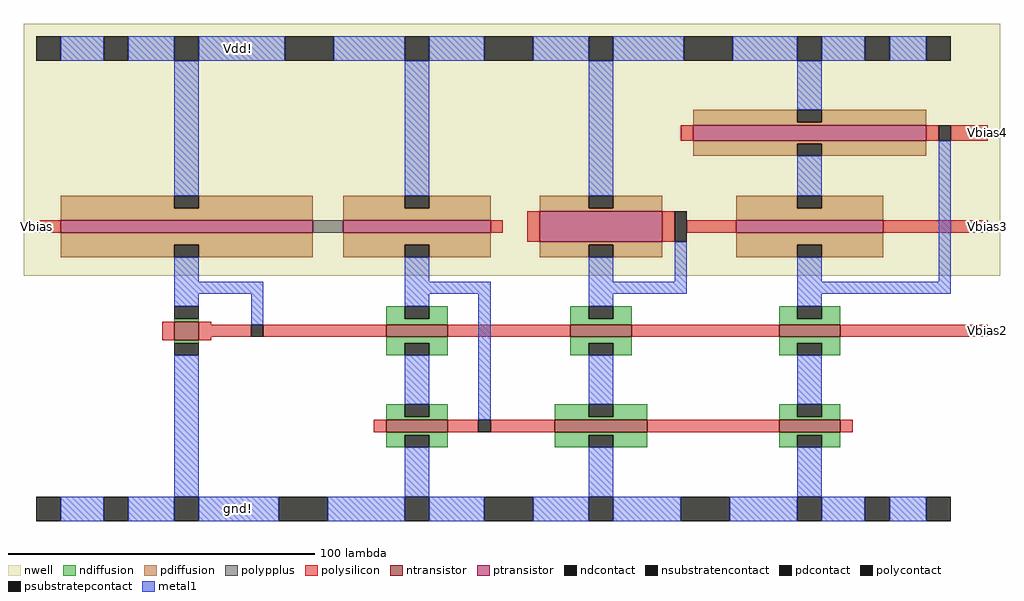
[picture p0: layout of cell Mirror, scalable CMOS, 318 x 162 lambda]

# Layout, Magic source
magic
tech scmos
<< nwell >>
rect -4 -16 314 66
<< ntransistor >>
rect 45 -37 53 -31
rect 114 -36 134 -32
rect 174 -36 194 -32
rect 242 -36 262 -32
rect 114 -67 134 -63
rect 169 -67 199 -63
rect 242 -67 262 -63
<< ptransistor >>
rect 214 28 290 33
rect 8 -2 90 2
rect 100 -2 148 2
rect 164 -5 204 5
rect 228 -2 276 2
<< ndiffusion >>
rect 45 -31 53 -30
rect 114 -30 120 -26
rect 128 -30 134 -26
rect 114 -32 134 -30
rect 174 -30 180 -26
rect 188 -30 194 -26
rect 174 -32 194 -30
rect 242 -30 248 -26
rect 256 -30 262 -26
rect 242 -32 262 -30
rect 45 -38 53 -37
rect 114 -38 134 -36
rect 114 -42 120 -38
rect 128 -42 134 -38
rect 174 -38 194 -36
rect 174 -42 180 -38
rect 188 -42 194 -38
rect 242 -38 262 -36
rect 242 -42 248 -38
rect 256 -42 262 -38
rect 114 -62 120 -58
rect 128 -62 134 -58
rect 114 -63 134 -62
rect 169 -62 180 -58
rect 188 -62 199 -58
rect 169 -63 199 -62
rect 242 -62 248 -58
rect 256 -62 262 -58
rect 242 -63 262 -62
rect 114 -68 134 -67
rect 114 -72 120 -68
rect 128 -72 134 -68
rect 169 -68 199 -67
rect 169 -72 180 -68
rect 188 -72 199 -68
rect 242 -68 262 -67
rect 242 -72 248 -68
rect 256 -72 262 -68
<< pdiffusion >>
rect 214 34 248 38
rect 256 34 290 38
rect 214 33 290 34
rect 214 27 290 28
rect 214 23 248 27
rect 256 23 290 27
rect 8 6 45 10
rect 53 6 90 10
rect 8 2 90 6
rect 100 6 120 10
rect 128 6 148 10
rect 100 2 148 6
rect 164 6 180 10
rect 188 6 204 10
rect 164 5 204 6
rect 228 6 248 10
rect 256 6 276 10
rect 8 -6 90 -2
rect 8 -10 45 -6
rect 53 -10 90 -6
rect 100 -6 148 -2
rect 228 2 276 6
rect 100 -10 120 -6
rect 128 -10 148 -6
rect 164 -6 204 -5
rect 164 -10 180 -6
rect 188 -10 204 -6
rect 228 -6 276 -2
rect 228 -10 248 -6
rect 256 -10 276 -6
<< ndcontact >>
rect 45 -30 53 -26
rect 120 -30 128 -26
rect 180 -30 188 -26
rect 248 -30 256 -26
rect 45 -42 53 -38
rect 120 -42 128 -38
rect 180 -42 188 -38
rect 248 -42 256 -38
rect 120 -62 128 -58
rect 180 -62 188 -58
rect 248 -62 256 -58
rect 120 -72 128 -68
rect 180 -72 188 -68
rect 248 -72 256 -68
<< pdcontact >>
rect 248 34 256 38
rect 248 23 256 27
rect 45 6 53 10
rect 120 6 128 10
rect 180 6 188 10
rect 248 6 256 10
rect 45 -10 53 -6
rect 120 -10 128 -6
rect 180 -10 188 -6
rect 248 -10 256 -6
<< psubstratepcontact >>
rect 0 -96 8 -88
rect 22 -96 30 -88
rect 45 -96 53 -88
rect 79 -96 95 -88
rect 120 -96 128 -88
rect 146 -96 162 -88
rect 180 -96 188 -88
rect 210 -96 226 -88
rect 248 -96 256 -88
rect 270 -96 278 -88
rect 290 -96 298 -88
<< nsubstratencontact >>
rect 0 54 8 62
rect 22 54 30 62
rect 45 54 53 62
rect 81 54 97 62
rect 120 54 128 62
rect 146 54 162 62
rect 180 54 188 62
rect 211 54 227 62
rect 248 54 256 62
rect 270 54 278 62
rect 290 54 298 62
<< polysilicon >>
rect 210 28 214 33
rect 290 28 294 33
rect 298 28 310 33
rect 0 -2 8 2
rect 148 -2 152 2
rect 160 -5 164 5
rect 204 -5 208 5
rect 212 -2 228 2
rect 276 -2 310 2
rect 41 -37 45 -31
rect 53 -32 57 -31
rect 53 -36 70 -32
rect 74 -36 114 -32
rect 134 -36 174 -32
rect 194 -36 242 -32
rect 262 -36 310 -32
rect 53 -37 57 -36
rect 110 -67 114 -63
rect 134 -67 144 -63
rect 148 -67 169 -63
rect 199 -67 242 -63
rect 262 -67 266 -63
<< polycontact >>
rect 294 28 298 33
rect 208 -5 212 5
rect 70 -36 74 -32
rect 144 -67 148 -63
<< polypplus >>
rect 90 -2 100 2
<< metal1 >>
rect 8 54 22 62
rect 30 54 45 62
rect 53 54 81 62
rect 97 54 120 62
rect 128 54 146 62
rect 162 54 180 62
rect 188 54 211 62
rect 227 54 248 62
rect 256 54 270 62
rect 278 54 290 62
rect 45 10 53 54
rect 120 10 128 54
rect 180 10 188 54
rect 248 38 256 54
rect 248 10 256 23
rect 45 -18 53 -10
rect 120 -18 128 -10
rect 180 -18 188 -10
rect 208 -18 212 -5
rect 45 -22 74 -18
rect 45 -26 53 -22
rect 70 -32 74 -22
rect 120 -22 148 -18
rect 120 -26 128 -22
rect 45 -88 53 -42
rect 120 -58 128 -42
rect 144 -63 148 -22
rect 180 -22 212 -18
rect 248 -18 256 -10
rect 294 -18 298 28
rect 248 -22 298 -18
rect 180 -26 188 -22
rect 248 -26 256 -22
rect 180 -58 188 -42
rect 248 -58 256 -42
rect 120 -88 128 -72
rect 180 -88 188 -72
rect 248 -88 256 -72
rect 8 -96 22 -88
rect 30 -96 45 -88
rect 53 -96 79 -88
rect 95 -96 120 -88
rect 128 -96 146 -88
rect 162 -96 180 -88
rect 188 -96 210 -88
rect 226 -96 248 -88
rect 256 -96 270 -88
rect 278 -96 290 -88
<< labels >>
rlabel polysilicon 0 -2 0 2 3 Vbias
rlabel polysilicon 310 28 310 33 7 Vbias4
rlabel polysilicon 310 -2 310 2 7 Vbias3
rlabel polysilicon 310 -36 310 -32 7 Vbias2
rlabel metal1 66 -92 66 -92 1 gnd!
rlabel metal1 66 58 66 58 1 Vdd!
<< end >>
